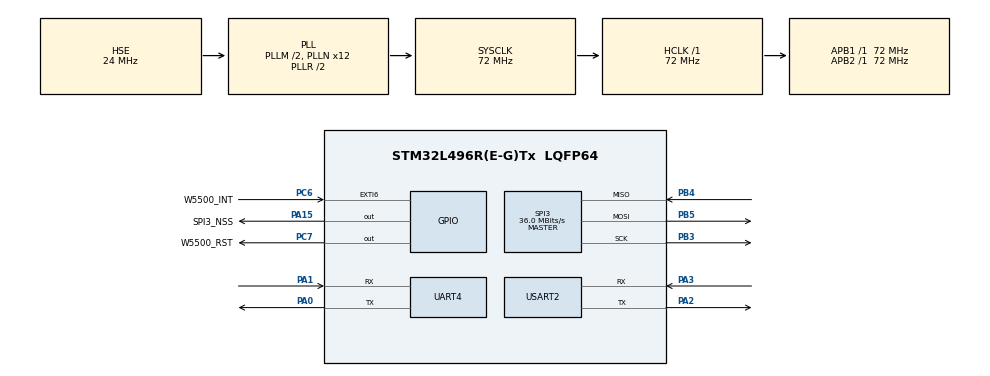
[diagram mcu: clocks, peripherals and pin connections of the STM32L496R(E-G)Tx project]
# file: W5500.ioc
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Dma.Request0=UART4_RX
Dma.Request1=UART4_TX
Dma.UART4_RX.0.Direction=DMA_PERIPH_TO_MEMORY
Dma.UART4_RX.0.Instance=DMA2_Channel5
Dma.UART4_RX.0.MemDataAlignment=DMA_MDATAALIGN_BYTE
Dma.UART4_RX.0.MemInc=DMA_MINC_ENABLE
Dma.UART4_RX.0.Mode=DMA_NORMAL
Dma.UART4_RX.0.PeriphDataAlignment=DMA_PDATAALIGN_BYTE
Dma.UART4_RX.0.PeriphInc=DMA_PINC_DISABLE
Dma.UART4_RX.0.Priority=DMA_PRIORITY_HIGH
Dma.UART4_TX.1.Direction=DMA_MEMORY_TO_PERIPH
Dma.UART4_TX.1.Instance=DMA2_Channel3
Dma.UART4_TX.1.MemDataAlignment=DMA_MDATAALIGN_BYTE
Dma.UART4_TX.1.MemInc=DMA_MINC_ENABLE
Dma.UART4_TX.1.Mode=DMA_NORMAL
Dma.UART4_TX.1.PeriphDataAlignment=DMA_PDATAALIGN_BYTE
Dma.UART4_TX.1.PeriphInc=DMA_PINC_DISABLE
Dma.UART4_TX.1.Priority=DMA_PRIORITY_HIGH
Mcu.Family=STM32L4
Mcu.Name=STM32L496R(E-G)Tx
Mcu.Package=LQFP64
NVIC.DMA2_Channel3_IRQn=true\:0\:0\:false\:false\:true\:false\:true\:true
NVIC.DMA2_Channel5_IRQn=true\:0\:0\:false\:false\:true\:false\:true\:true
NVIC.EXTI9_5_IRQn=true\:0\:0\:true\:false\:true\:true\:true\:true
NVIC.PriorityGroup=NVIC_PRIORITYGROUP_2
NVIC.TIM2_IRQn=true\:1\:0\:true\:false\:true\:true\:true\:true
NVIC.UART4_IRQn=true\:1\:0\:true\:false\:true\:true\:true\:true
PA0.Mode=Asynchronous
PA0.Signal=UART4_TX
PA1.Mode=Asynchronous
PA1.Signal=UART4_RX
PA13\ (JTMS/SWDIO).Mode=Serial_Wire
PA13\ (JTMS/SWDIO).Signal=SYS_JTMS-SWDIO
PA14\ (JTCK/SWCLK).Mode=Serial_Wire
PA14\ (JTCK/SWCLK).Signal=SYS_JTCK-SWCLK
PA15\ (JTDI).GPIO_Label=SPI3_NSS
PA15\ (JTDI).GPIO_Speed=GPIO_SPEED_FREQ_VERY_HIGH
PA15\ (JTDI).PinState=GPIO_PIN_SET
PA15\ (JTDI).Signal=GPIO_Output
PA2.Mode=Asynchronous
PA2.Signal=USART2_TX
PA3.Mode=Asynchronous
PA3.Signal=USART2_RX
PB3\ (JTDO/TRACESWO).Mode=Full_Duplex_Master
PB3\ (JTDO/TRACESWO).Signal=SPI3_SCK
PB4\ (NJTRST).Mode=Full_Duplex_Master
PB4\ (NJTRST).Signal=SPI3_MISO
PB5.Mode=Full_Duplex_Master
PB5.Signal=SPI3_MOSI
PB6.Signal=USART1_TX
PB7.Signal=USART1_RX
PC14-OSC32_IN\ (PC14).Mode=LSE-External-Oscillator
PC14-OSC32_IN\ (PC14).Signal=RCC_OSC32_IN
PC15-OSC32_OUT\ (PC15).Mode=LSE-External-Oscillator
PC15-OSC32_OUT\ (PC15).Signal=RCC_OSC32_OUT
PC6.GPIO_Label=W5500_INT
PC6.GPIO_ModeDefaultEXTI=GPIO_MODE_IT_FALLING
PC6.GPIO_PuPd=GPIO_PULLUP
PC6.Signal=GPXTI6
PC7.GPIO_Label=W5500_RST
PC7.GPIO_Speed=GPIO_SPEED_FREQ_MEDIUM
PC7.PinState=GPIO_PIN_RESET
PC7.Signal=GPIO_Output
PH0-OSC_IN\ (PH0).Mode=HSE-External-Oscillator
PH0-OSC_IN\ (PH0).Signal=RCC_OSC_IN
PH1-OSC_OUT\ (PH1).Mode=HSE-External-Oscillator
PH1-OSC_OUT\ (PH1).Signal=RCC_OSC_OUT
ProjectManager.HeapSize=0x200
ProjectManager.StackSize=0x400
ProjectManager.TargetToolchain=STM32CubeIDE
RCC.ADCFreq_Value=48000000
RCC.AHBFreq_Value=72000000
RCC.APB1Freq_Value=72000000
RCC.APB1TimFreq_Value=72000000
RCC.APB2Freq_Value=72000000
RCC.APB2TimFreq_Value=72000000
RCC.CortexFreq_Value=72000000
RCC.HCLKFreq_Value=72000000
RCC.HSE_VALUE=24000000
RCC.HSI48_VALUE=48000000
RCC.HSI_VALUE=16000000
RCC.MSI_VALUE=4000000
RCC.PLLM=2
RCC.PLLN=12
RCC.PLLSourceVirtual=RCC_PLLSOURCE_HSE
RCC.SYSCLKFreq_VALUE=72000000
RCC.SYSCLKSource=RCC_SYSCLKSOURCE_PLLCLK
RCC.USBFreq_Value=48000000
RCC.VCOOutputFreq_Value=144000000
SPI3.BaudRatePrescaler=SPI_BAUDRATEPRESCALER_2
SPI3.CalculateBaudRate=36.0 MBits/s
SPI3.DataSize=SPI_DATASIZE_8BIT
SPI3.Direction=SPI_DIRECTION_2LINES
SPI3.Mode=SPI_MODE_MASTER
SPI3.VirtualType=VM_MASTER
TIM2.Period=9999
TIM2.Prescaler=7999
USART2.VirtualMode-Asynchronous=VM_ASYNC
VP_TIM2_VS_ClockSourceINT.Mode=Internal
board=custom

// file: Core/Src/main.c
/* USER CODE BEGIN Header */
/**
  ******************************************************************************
  * @file           : main.c
  * @brief          : Main program body
  ******************************************************************************
  * @attention
  *
  * Copyright (c) 2022 STMicroelectronics.
  * All rights reserved.
  *
  * This software is licensed under terms that can be found in the LICENSE file
  * in the root directory of this software component.
  * If no LICENSE file comes with this software, it is provided AS-IS.
  *
  ******************************************************************************
  */
/* USER CODE END Header */
#include "main.h"
#include "dma.h"
#include "spi.h"
#include "tim.h"
#include "usart.h"
#include "gpio.h"

/* USER CODE BEGIN PD */

/*例程网络参数*/
//网关�?????????????192.168.1.1
//掩码:	255.255.255.0
//物理地址�?????????????0C 29 AB 7C 00 01
//本机IP地址:192.168.1.199
//端口0的端口号�?????????????5000
//端口0的目的IP地址�?????????????192.168.1.190
//端口0的目的端口号�?????????????6000

/* USER CODE END PD */

/* USER CODE BEGIN PM */

//void HAL_TIM_PeriodElapsedCallback(TIM_HandleTypeDef *htim){
//	if(htim->Instance == TIM2){
//
//	Timer2_Counter++;
//	W5500_Send_Delay_Counter++;
//	}
//}
/* USER CODE END PM */

/* USER CODE BEGIN PV */
unsigned int Timer2_Counter=0; //定时器计数变�????????????(s)
unsigned int W5500_Send_Delay_Counter=0; //w5500发�?�延时计数变�????????????(s)
uint8_t  buf[] = "hello";

/* USER CODE END PV */

void SystemClock_Config(void);

/* USER CODE BEGIN 0 */

//GPIO外部中断处理回调函数
void HAL_GPIO_EXTI_Callback(uint16_t GPIO_Pin){
	if(GPIO_Pin == GPIO_PIN_6){
		W5500_Interrupt=1;
	}
}

//void HAL_UART_RxCpltCallback(UART_HandleTypeDef *huart){
//	if(huart->Instance = huart4){
//		Write_SOCK_Data_Buffer(0, Tx_Buffer, 23)
//	}
//}

//void HAL_UART_RxCpltCallback(UART_HandleTypeDef *UartHandle)
//{
//    HAL_UART_Transmit(&huart4, (uint8_t *)aRxBuffer, 1,0xFFFF);
//    HAL_UART_Receive_IT(&huart4, (uint8_t *)aRxBuffer, 1);
//}

/* USER CODE END 0 */

int main(void)
{

  /* MCU Configuration--------------------------------------------------------*/

  /* Reset of all peripherals, Initializes the Flash interface and the Systick. */
  HAL_Init();

  /* Configure the system clock */
  SystemClock_Config();

  /* Initialize all configured peripherals */
  MX_GPIO_Init();
  MX_DMA_Init();
  MX_SPI3_Init();
  MX_TIM2_Init();
  MX_USART2_UART_Init();
  MX_UART4_Init();
  /* USER CODE BEGIN 2 */
//  HAL_TIM_Base_Start_IT((TIM_HandleTypeDef *)&htim2); //�????????????启定时器2中断

  printf("uart init success\n\r");

  Load_Net_Parameters();		//装载网络参数
  	W5500_Hardware_Reset();		//硬件复位W5500
  	W5500_Initialization();		//W5500初始货配�?????????????
  	printf("w5500 init success\n\r");
  	W5500_Socket_Set();//W5500端口初始化配�??
  	__HAL_UART_ENABLE_IT(&huart4, UART_IT_IDLE);
  	__HAL_UART_ENABLE_IT(&huart4, UART_IT_RXNE);
  	//__HAL_UART_CLEAR_IDLEFLAG(&huart4);
  	HAL_UART_Receive_DMA(&huart4, DMA_Buffer, DMA_BUFFER_LENGTH);

  /* USER CODE END 2 */
  	HAL_Delay(1000);
  /* Infinite loop */
  while (1)
  {

    /* USER CODE BEGIN 3 */
//	  HAL_Delay(2000);
//	  HAL_UART_Transmit(&huart4, buf, sizeof(buf), 200);

//
//	  	  printf("system is running\r\n");
//	  	  HAL_Delay(1000);
	  		if(W5500_Interrupt)//处理W5500中断
	  		{
	  			W5500_Interrupt_Process();//W5500中断处理程序框架
	  		}
	  		if((S0_Data & S_RECEIVE) == S_RECEIVE)//如果Socket0接收到数�??
	  		{
	  			S0_Data&=~S_RECEIVE;
	  			Process_Socket_Data(0);//W5500接收并发送接收到的数�??
	  		}
//	  		if (DMA_RECV_flag){
//	  			DMA_RECV_flag = 0;
//	  			//  printf("w5500 send data success!\r\n");
//				  Write_SOCK_Data_Buffer(0, DMA_Buffer, dma_recv_len);
//				  dma_recv_len = 0;
//				 // HAL_UART_Transmit(&huart4, DMA_Buffer, len, 200);
//				  memset(DMA_Buffer, 0, DMA_BUFFER_LENGTH);
//				  HAL_UART_Receive_DMA(&huart4, DMA_Buffer, DMA_BUFFER_LENGTH);
//	  		}

//	  		HAL_Delay(1000);
//	  			if(S0_State == (S_INIT|S_CONN))
//	  			{
//	  				S0_Data&=~S_TRANSMITOK;
//	  				memcpy(Tx_Buffer, "Welcome To NiRenElec!\r\n", 23);
//	  				Write_SOCK_Data_Buffer(0, Tx_Buffer, 23);//指定Socket(0~7)发�?�数据处�??,端口0发�??23字节数据
//	  				printf("data send success!\n\r");
//	  			}

  }
  /* USER CODE END 3 */
}

void SystemClock_Config(void)
{
  RCC_OscInitTypeDef RCC_OscInitStruct = {0};
  RCC_ClkInitTypeDef RCC_ClkInitStruct = {0};

  /** Configure the main internal regulator output voltage
  */
  if (HAL_PWREx_ControlVoltageScaling(PWR_REGULATOR_VOLTAGE_SCALE1) != HAL_OK)
  {
    Error_Handler();
  }

  /** Initializes the RCC Oscillators according to the specified parameters
  * in the RCC_OscInitTypeDef structure.
  */
  RCC_OscInitStruct.OscillatorType = RCC_OSCILLATORTYPE_HSE;
  RCC_OscInitStruct.HSEState = RCC_HSE_ON;
  RCC_OscInitStruct.PLL.PLLState = RCC_PLL_ON;
  RCC_OscInitStruct.PLL.PLLSource = RCC_PLLSOURCE_HSE;
  RCC_OscInitStruct.PLL.PLLM = 2;
  RCC_OscInitStruct.PLL.PLLN = 12;
  RCC_OscInitStruct.PLL.PLLP = RCC_PLLP_DIV2;
  RCC_OscInitStruct.PLL.PLLQ = RCC_PLLQ_DIV2;
  RCC_OscInitStruct.PLL.PLLR = RCC_PLLR_DIV2;
  if (HAL_RCC_OscConfig(&RCC_OscInitStruct) != HAL_OK)
  {
    Error_Handler();
  }

  /** Initializes the CPU, AHB and APB buses clocks
  */
  RCC_ClkInitStruct.ClockType = RCC_CLOCKTYPE_HCLK|RCC_CLOCKTYPE_SYSCLK
                              |RCC_CLOCKTYPE_PCLK1|RCC_CLOCKTYPE_PCLK2;
  RCC_ClkInitStruct.SYSCLKSource = RCC_SYSCLKSOURCE_PLLCLK;
  RCC_ClkInitStruct.AHBCLKDivider = RCC_SYSCLK_DIV1;
  RCC_ClkInitStruct.APB1CLKDivider = RCC_HCLK_DIV1;
  RCC_ClkInitStruct.APB2CLKDivider = RCC_HCLK_DIV1;

  if (HAL_RCC_ClockConfig(&RCC_ClkInitStruct, FLASH_LATENCY_4) != HAL_OK)
  {
    Error_Handler();
  }
}

void Error_Handler(void)
{
  __disable_irq();
  while (1)
  {
  }
}
